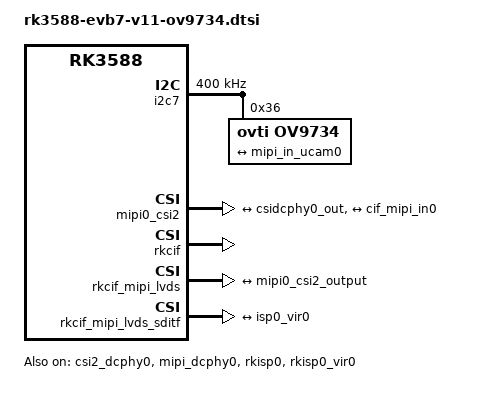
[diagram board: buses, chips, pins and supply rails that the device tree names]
// SPDX-License-Identifier: (GPL-2.0+ OR MIT)
/*
 * Copyright (c) 2021 Rockchip Electronics Co., Ltd.
 *
 */

/ {
	
	//红外滤光片（IRCUT）由两根线控制，对这两根线施加3.5v~6v的电源，通过对IRCUT供电电源的正负极对调，且满足通电时间100ms±10%，能够实现IRCUT的切换。驱动通过两个gpio控制电机驱动器的电流输出方向，gpio命令为open（红线）、close（黑线）。电流由open流向close，为红外截止滤光片，白天工作状态；电流由close流向open，为白玻璃片，夜晚工作状态。其配置如下：
	cam_ircut0: cam_ircut {
		status = "okay";
		compatible = "rockchip,ircut";
		//ircut-open-gpios = <&gpio3 RK_PC1 GPIO_ACTIVE_HIGH>;
		//ircut-close-gpios  = <&gpio3 RK_PC0 GPIO_ACTIVE_HIGH>;
		rockchip,camera-module-index = <0>;
		rockchip,camera-module-facing = "back";
	};
};

//这里使用的是csi2_dcphy0
&csi2_dcphy0 {
	status = "okay";

	ports {
		#address-cells = <1>;
		#size-cells = <0>;
		port@0 {
			reg = <0>;
			#address-cells = <1>;
			#size-cells = <0>;

			mipi_in_ucam0: endpoint@1 {
				reg = <1>;
				//sensor端的port名
				remote-endpoint = <&ov9734_out0>;
				//mipi lane数，1lane为<1>,4lane为<1 2 3 4>，这里配置的是4lane，这个必须要配置否则会无法识别mipi类型
				data-lanes = <1>;
			};
		};
		port@1 {
			reg = <1>;
			#address-cells = <1>;
			#size-cells = <0>;

			csidcphy0_out: endpoint@0 {
				reg = <0>;
				//mipi0_csi2_input是对应的isp端的port名
				remote-endpoint = <&mipi0_csi2_input>;
			};
		};
	};
};

&i2c7 {
	status = "okay";
	clock-frequency = <400000>;
    pinctrl-names = "default";
	pinctrl-0 = <&i2c7m0_xfer>;	
	

	ov9734: ov9734@36 {
		compatible = "ovti,ov9734";		//需要与驱动定义的字符串一致
		reg = <0x36>;		//sensor的I2C设备地址，7位
		status = "okay";
		
		clocks = <&cru CLK_MIPI_CAMARAOUT_M2>;//sensor clockin配置
		clock-names = "xvclk";
		pinctrl-names = "default";
		pinctrl-0 = <&mipim0_camera2_clk>;
		//电源配置
		power-domains = <&power RK3588_PD_VI>;
		
		//power管脚配置
		//pwdn-gpios = <&gpio1 RK_PA0 GPIO_ACTIVE_HIGH>;	
		//reset-gpios = <&gpio1 RK_PB0 GPIO_ACTIVE_HIGH>;		
		//avdd-supply = <&vcc_mipidcphy0>;
		//dovdd-supply = <&vcc_mipidcphy0_dovdd>;
		
		//模组编号，该编号不要重复
		rockchip,camera-module-index = <1>;
		//模组朝向，有前摄“front”、后摄“back”
		rockchip,camera-module-facing = "back";
		//模组名称
		rockchip,camera-module-name = "Sigma9734";
		//IR CUT设备
		rockchip,camera-module-lens-name = "ov9734";

		//rockchip,camera-module-index-oh01a10 = <2>;
		rockchip,camera-module-facing-oh01a10 = "back";
		rockchip,camera-module-name-oh01a10 = "Nkjoh01a10";
		rockchip,camera-module-lens-name-oh01a10 = "oh01a10";
		
		//lens-focus = <&cam_ircut0>;
		port {
			ov9734_out0: endpoint {
			//mipi dphy端的port名
				remote-endpoint = <&mipi_in_ucam0>;
				//mipi lane数，1lane为<1>,4lane为<1 2 3 4>，这里配置的是4lane，这个必须要配置否则会无法识别mipi类型
				data-lanes = <1>;
			};
		};
	};
};

&mipi_dcphy0 {
	status = "okay";
};

&mipi0_csi2 {
	status = "okay";

	ports {
		#address-cells = <1>;
		#size-cells = <0>;

		port@0 {
			reg = <0>;
			#address-cells = <1>;
			#size-cells = <0>;

			mipi0_csi2_input: endpoint@1 {
				reg = <1>;
				//csi2 dphy端的port名
				remote-endpoint = <&csidcphy0_out>;
			};
		};

		port@1 {
			reg = <1>;
			#address-cells = <1>;
			#size-cells = <0>;

			mipi0_csi2_output: endpoint@0 {
				reg = <0>;
				//vicap端的port名
				remote-endpoint = <&cif_mipi_in0>;
			};
		};
	};
};
//vicap的配置，这里用rkcif节点代表vicap
&rkcif {
	status = "okay";
};

&rkcif_mipi_lvds {
	status = "okay";

	port {
		cif_mipi_in0: endpoint {
		//csi2 host端的port名
			remote-endpoint = <&mipi0_csi2_output>;
		};
	};
};

&rkcif_mipi_lvds_sditf {
	status = "okay";

	port {
		mipi_lvds_sditf: endpoint {
		//isp虚拟设备端port名
			remote-endpoint = <&isp0_vir0>;
		};
	};
};

&rkcif_mmu {
	status = "okay";
};

&rkisp0 {
	status = "okay";
};

&isp0_mmu {
	status = "okay";
};

&rkisp0_vir0 {
	status = "okay";

	port {
		#address-cells = <1>;
		#size-cells = <0>;

		isp0_vir0: endpoint@0 {
			reg = <0>;
			//vicap mipi sditf的端点名
			remote-endpoint = <&mipi_lvds_sditf>;
		};
	};
};
